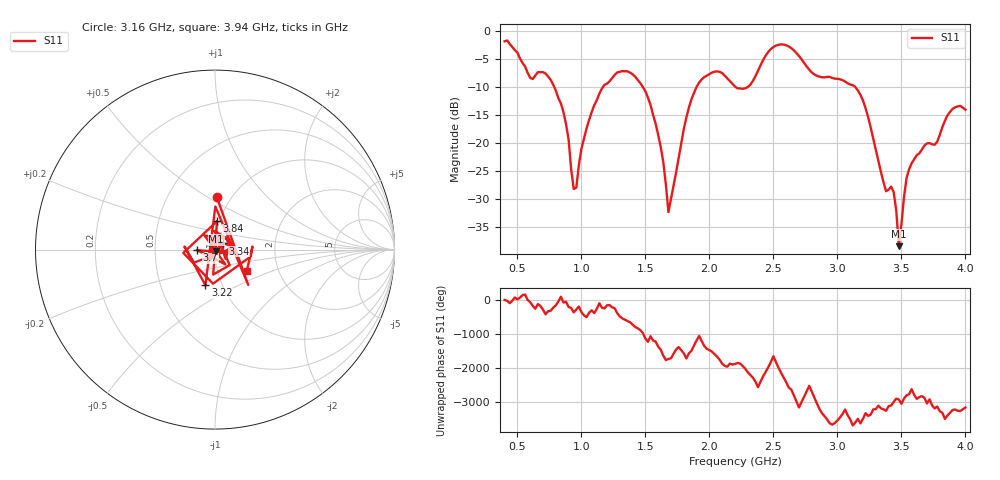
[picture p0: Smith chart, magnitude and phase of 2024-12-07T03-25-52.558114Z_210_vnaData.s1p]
!Created with skrf (http://scikit-rf.org).
# Hz S RI R 50.0
!freq ReS11 ImS11
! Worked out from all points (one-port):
!   181 points, 400 MHz to 4 GHz, reference 50 ohm
!   lowest |S11| = -38.4 dB at 3.48 GHz (marker M1), VSWR 1.02, Z = 50.6 - j1.07 ohm
!   |S11| at or under -10 dB: 788.5 MHz to 1.167 GHz (379 MHz wide, 38.8 % of centre); 1.481 GHz to 1.899 GHz (417.6 MHz wide, 24.7 % of centre); 3.141 GHz to end of sweep (the widest 3 of 4)
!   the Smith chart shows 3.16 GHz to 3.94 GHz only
!   S11 on the Smith chart (normalised r, x): 3.16 GHz: 0.85, +0.55; 3.22 GHz: 0.83, -0.35; 3.34 GHz: 1.09, +0.08; 3.7 GHz: 0.82, -0.01; 3.84 GHz: 0.97, +0.32; 3.94 GHz: 1.38, -0.34
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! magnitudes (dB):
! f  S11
! 400 MHz  -1.8
! 600 MHz  -8.3
! 720 MHz  -7.5
! 860 MHz  -14.5
! 940 MHz  -28.2
! 960 MHz  -27.9
! 1 GHz  -21.0
! 1.1 GHz  -13.2
! 1.3 GHz  -7.2
! 1.52 GHz  -11.9
! 1.62 GHz  -20.7
! 1.68 GHz  -32.3
! 1.76 GHz  -22.6
! 1.92 GHz  -9.2
! 2.2 GHz  -9.9
! 2.5 GHz  -2.8
! 2.66 GHz  -3.4
! 3.1 GHz  -9.5
! 3.16 GHz  -10.6
! 3.22 GHz  -13.7
! 3.34 GHz  -25.1
! 3.44 GHz  -28.7
! 3.48 GHz  -38.4
! 3.56 GHz  -24.6
! 3.7 GHz  -20.0
! 3.84 GHz  -16.0
! 3.94 GHz  -13.4
! 4 GHz  -14.0
